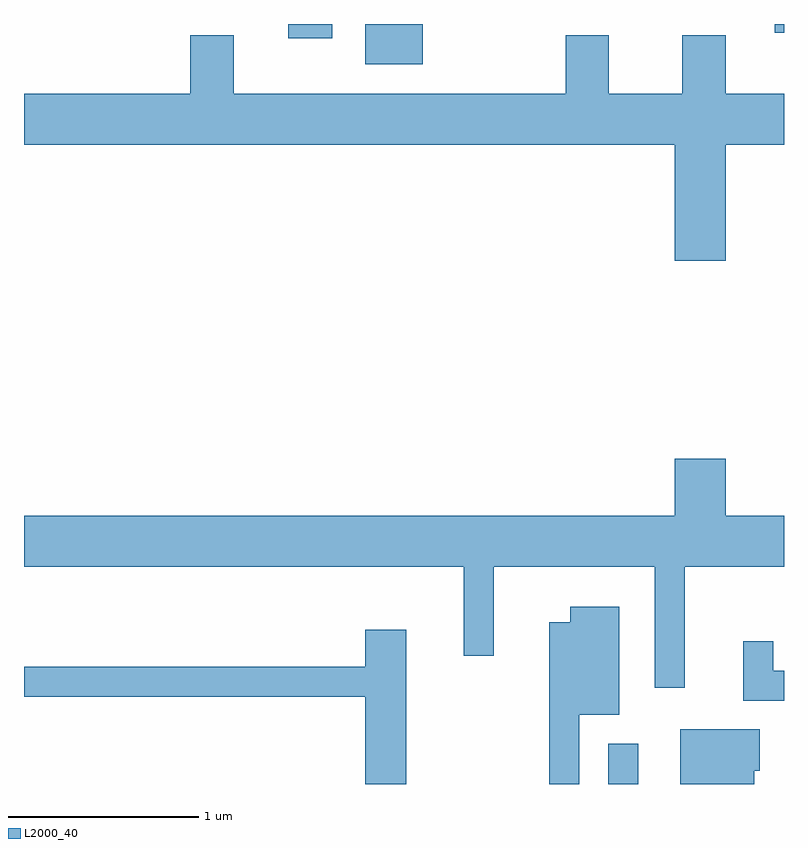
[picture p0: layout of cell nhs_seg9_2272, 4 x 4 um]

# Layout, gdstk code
import gdstk
lib = gdstk.Library(unit=1e-6, precision=1e-09)
def R(c, l, rs):  # rectangles x0, y0, x1, y1
    for r in rs: c.add(gdstk.rectangle(r[:2], r[2:], *l))
def P(c, l, *ps):  # polygons
    for p in ps: c.add(gdstk.Polygon(p, *l))
L2000_40 = (2000, 40)

nhs_seg9_2272 = lib.new_cell('nhs_seg9_2272')
R(nhs_seg9_2272, L2000_40, [(254.686,2008.432,254.844,2008.643), (253.406,2012.221,253.709,2012.432), (253.001,2012.356,253.234,2012.432), (255.561,2012.386,255.611,2012.432)])
P(nhs_seg9_2272, L2000_40, [(255.304,2011.796),(255.611,2011.796),(255.611,2012.064),(255.304,2012.064),(255.304,2012.374),(255.076,2012.374),(255.076,2012.064),(254.689,2012.064),(254.689,2012.374),(254.461,2012.374),(254.461,2012.064),(252.714,2012.064),(252.714,2012.374),(252.486,2012.374),(252.486,2012.064),(251.611,2012.064),(251.611,2011.796),(255.036,2011.796),(255.036,2011.186),(255.304,2011.186)],
  [(255.089,2009.576),(255.611,2009.576),(255.611,2009.844),(255.304,2009.844),(255.304,2010.144),(255.036,2010.144),(255.036,2009.844),(251.611,2009.844),(251.611,2009.576),(253.926,2009.576),(253.926,2009.108),(254.084,2009.108),(254.084,2009.576),(254.931,2009.576),(254.931,2008.938),(255.089,2008.938)],
  [(254.534,2008.796),(254.744,2008.796),(254.744,2009.364),(254.486,2009.364),(254.486,2009.284),(254.376,2009.284),(254.376,2008.432),(254.534,2008.432)],
  [(253.624,2009.244),(253.406,2009.244),(253.406,2009.049),(251.611,2009.049),(251.611,2008.891),(253.406,2008.891),(253.406,2008.432),(253.624,2008.432)],
  [(255.611,2009.029),(255.554,2009.029),(255.554,2009.183),(255.396,2009.183),(255.396,2008.871),(255.611,2008.871)],
  [(255.454,2008.501),(255.484,2008.501),(255.484,2008.719),(255.066,2008.719),(255.066,2008.432),(255.454,2008.432)])

lib.write_gds('nhs_seg9_2272.gds')
